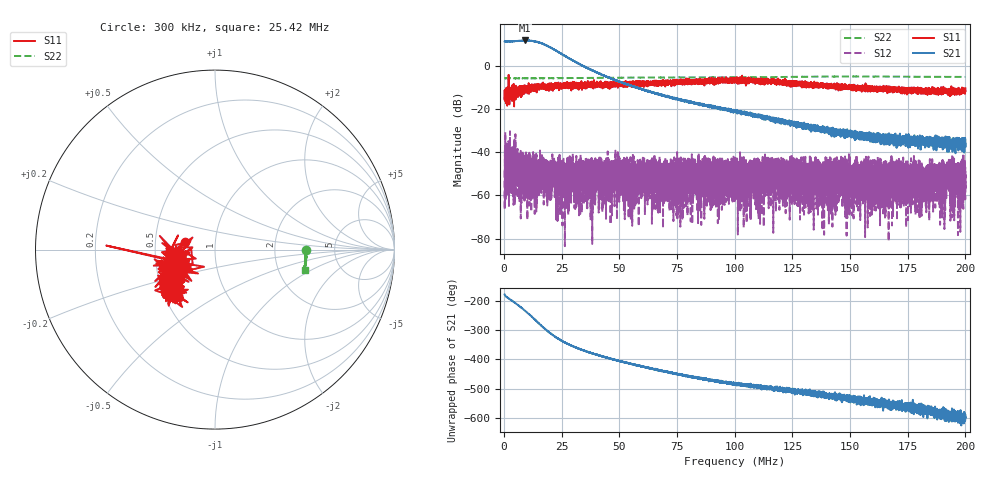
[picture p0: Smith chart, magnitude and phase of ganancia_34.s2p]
# Hz S DB R 50
! CMT, M5065, 19127446, 24.2.4/2
! Date: 11/8/2024 5:13:07 PM
! Data: Format (Calibration Info)
! Freq	S11:dB/Ang(F2)	S21:dB/Ang(F2)	S12:dB/Ang(F2)	S22:dB/Ang(F2)
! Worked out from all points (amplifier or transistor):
!   9000 points, 300 kHz to 200 MHz, reference 50 ohm
!   highest |S21| = 11.6 dB at 9.177 MHz (marker M1)
!   |S21| within 3 dB of that: start of sweep to 19.67 MHz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
!   unconditionally stable (mu >= 1): start of sweep to end of sweep
!   at 33.59 MHz: K = 72.69, MAG = 2.6 dB, |S12| = -48.1 dB
!   at 100.2 MHz: K = 805.60, MAG = -18.8 dB, |S12| = -47.7 dB
!   at 200 MHz: K = 6604.95, MAG = -34.0 dB, |S12| = -50.3 dB
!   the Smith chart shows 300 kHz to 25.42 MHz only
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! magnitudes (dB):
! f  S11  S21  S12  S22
! 300 kHz  -15.2  11.1  -48.6  -5.9
! 2.453 MHz  -10.6  11.1  -42.4  -5.9
! 9.177 MHz  -10.6  11.6  -61.2  -5.9
! 17.37 MHz  -9.2  9.8  -46.5  -5.8
! 33.59 MHz  -7.2  0.3  -48.1  -5.8
! 66.87 MHz  -8.7  -13.5  -44.8  -5.5
! 82.03 MHz  -6.7  -17.1  -61.7  -5.5
! 89.46 MHz  -6.9  -18.7  -54.0  -5.4
! 100.2 MHz  -7.4  -21.2  -47.7  -5.4
! 108.9 MHz  -7.3  -23.3  -48.9  -5.4
! 114.9 MHz  -7.3  -24.3  -46.2  -5.4
! 133.4 MHz  -9.3  -29.5  -47.2  -5.2
! 166.7 MHz  -10.6  -36.5  -81.2  -5.1
! 172 MHz  -10.9  -36.1  -47.5  -5.2
! 176.3 MHz  -12.1  -34.8  -58.0  -5.2
! 178.3 MHz  -11.2  -35.8  -44.0  -5.2
! 183.6 MHz  -11.3  -34.5  -58.4  -5.2
! 187.8 MHz  -12.6  -35.7  -49.3  -5.2
! 190.4 MHz  -11.8  -35.6  -49.5  -5.3
! 192.4 MHz  -11.8  -36.4  -57.0  -5.3
! 196.2 MHz  -12.2  -34.7  -54.4  -5.3
! 200 MHz  -10.5  -36.0  -50.3  -5.3
